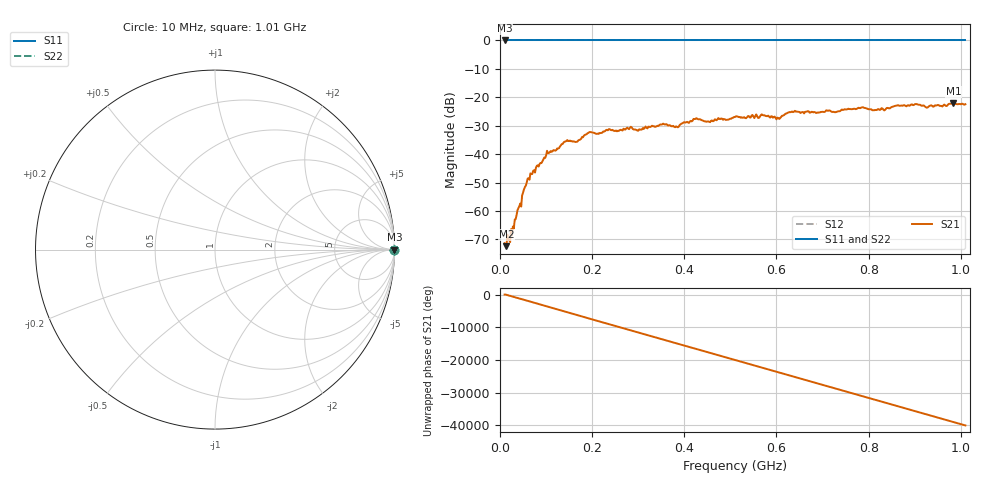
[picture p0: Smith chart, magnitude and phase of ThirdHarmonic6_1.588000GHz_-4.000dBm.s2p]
! 8/16/2025 6:54:32 PM
! C:\ANRITSUVNA\TEMP\TEMP.S2P
! CHANNEL.1
! TR.MEASUREMENT
! RAW.DATA
! RF.CORRECTION.OFF
! AVERAGING.OFF
! IF.BANDWIDTH: 5KHZ
! SWEEPTYPE:  FREQ.SWEEP(Linear)
! Reference Plane Port Info
! PORT:  PORT1  PORT2
! DISTANCE:  0  m  0  m
! TIME:  0  s  0  s
! PHASE.OFFSET:  0  deg.  0  deg.
! LOSS:  0  dB  0  dB
! REF.LOSS:  0  dB  0  dB
! REF.FREQ:  0  Hz  0  Hz
! Power Info
! POWER:  -20  dBm  -20  dBm
! EFF.POWER:  -20  dBm  -20  dBm
! SOURCE.ATTEN:  0  dB  0  dB
! TEST.ATTEN:  0  dB  0  dB
# GHZ S RI R 50.0
! FREQ.GHZ  S11RE  S11IM  S21RE  S21IM  S12RE  S12IM  S22RE  S22IM
!; PortSelection: Port_12
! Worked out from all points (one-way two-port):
!   501 points, 10 MHz to 1.01 GHz, reference 50 ohm
!   highest |S21| = -22.16 dB at 984 MHz (marker M1); lowest = -72.4 dB at 14 MHz (marker M2)
!   lowest |S11| = 0.0 dB at 10 MHz (marker M3)
!   |S11| at or under -10 dB: nowhere
!   |S22| runs from 0.0 to 0.0 dB; largest |S21 - S12| = 1.1
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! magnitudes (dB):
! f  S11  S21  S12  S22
! 10 MHz  0.0  -71.4  0.0  0.0
! 14 MHz  0.0  -72.4  0.0  0.0
! 22 MHz  0.0  -71.0  0.0  0.0
! 52 MHz  0.0  -52.4  0.0  0.0
! 70 MHz  0.0  -47.0  0.0  0.0
! 106 MHz  0.0  -39.6  0.0  0.0
! 142 MHz  0.0  -35.6  0.0  0.0
! 166 MHz  0.0  -35.7  0.0  0.0
! 178 MHz  0.0  -34.0  0.0  0.0
! 194 MHz  0.0  -32.3  0.0  0.0
! 344 MHz  0.0  -30.1  0.0  0.0
! 384 MHz  0.0  -30.4  0.0  0.0
! 424 MHz  0.0  -27.6  0.0  0.0
! 452 MHz  0.0  -28.5  0.0  0.0
! 510 MHz  0.0  -27.0  0.0  0.0
! 570 MHz  0.0  -26.2  0.0  0.0
! 604 MHz  0.0  -27.3  0.0  0.0
! 630 MHz  0.0  -25.2  0.0  0.0
! 678 MHz  0.0  -25.2  0.0  0.0
! 844 MHz  0.0  -23.9  0.0  0.0
! 984 MHz  0.0  -22.2  0.0  0.0
! 1.01 GHz  0.0  -22.5  0.0  0.0
